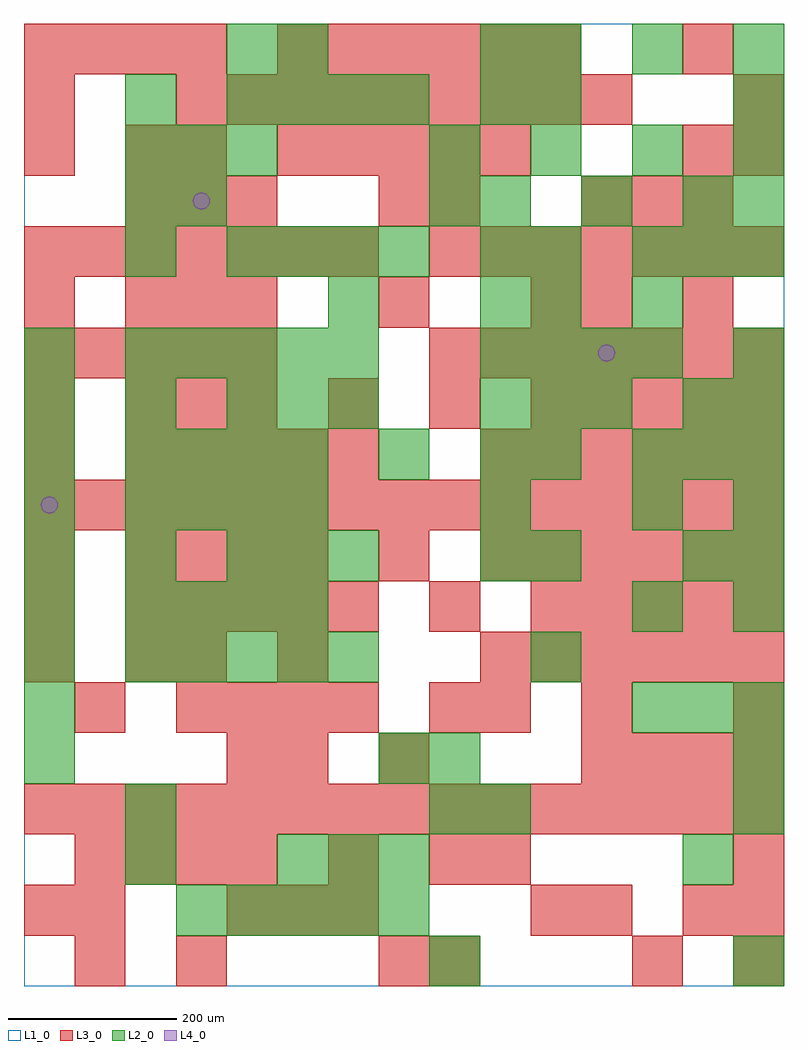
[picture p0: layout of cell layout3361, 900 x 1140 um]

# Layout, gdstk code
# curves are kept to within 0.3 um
import gdstk
lib = gdstk.Library(unit=1e-6, precision=1e-09)
def R(c, l, rs):  # rectangles x0, y0, x1, y1
    for r in rs: c.add(gdstk.rectangle(r[:2], r[2:], *l))
def A(c, l, x, y, w, h, nx, ny, dx, dy):  # array of equal rectangles
    R(c, l, [(x+i*dx, y+j*dy, x+i*dx+w, y+j*dy+h) for i in range(nx) for j in range(ny)])
def P(c, l, *ps):  # polygons
    for p in ps: c.add(gdstk.Polygon(p, *l))
L1_0 = (1, 0)
L2_0 = (2, 0)
L3_0 = (3, 0)
L4_0 = (4, 0)

layout3361 = lib.new_cell('layout3361')
R(layout3361, L1_0, [(0,0,900,1140)])
A(layout3361, L2_0, 180, 60, 60, 60, 5, 1, 60, 0)
A(layout3361, L2_0, 300, 120, 60, 60, 3, 1, 60, 0)
A(layout3361, L2_0, 0, 240, 60, 60, 1, 4, 0, 60)
A(layout3361, L2_0, 720, 300, 60, 60, 3, 2, 60, 300)
A(layout3361, L2_0, 120, 360, 60, 60, 5, 2, 60, 360)
A(layout3361, L2_0, 600, 360, 60, 60, 1, 3, 0, 120)
A(layout3361, L2_0, 120, 420, 60, 60, 4, 2, 60, 120)
A(layout3361, L2_0, 840, 420, 60, 60, 1, 3, 0, 60)
A(layout3361, L2_0, 0, 480, 60, 60, 3, 2, 120, 180)
A(layout3361, L2_0, 540, 480, 60, 60, 1, 3, 0, 60)
A(layout3361, L2_0, 120, 600, 60, 60, 4, 1, 60, 0)
A(layout3361, L2_0, 540, 660, 60, 60, 3, 1, 60, 0)
A(layout3361, L2_0, 540, 720, 60, 60, 4, 1, 60, 0)
A(layout3361, L2_0, 240, 840, 60, 60, 4, 2, 60, 180)
A(layout3361, L2_0, 720, 840, 60, 60, 3, 1, 60, 0)
A(layout3361, L2_0, 540, 900, 60, 60, 3, 1, 120, 0)
A(layout3361, L2_0, 120, 960, 60, 60, 3, 1, 60, 0)
A(layout3361, L2_0, 480, 960, 60, 60, 4, 1, 120, 0)
A(layout3361, L2_0, 600, 1080, 60, 60, 3, 1, 120, 0)
R(layout3361, L2_0, [(480,0,540,60), (840,0,900,60), (120,120,180,180), (780,120,840,180), (120,180,180,240), (480,180,540,240), (540,180,600,240), (840,180,900,240), (420,240,480,300), (480,240,540,300), (840,240,900,300), (720,420,780,480), (300,480,360,540), (360,480,420,540), (780,480,840,540), (0,540,60,600), (720,540,780,600), (0,600,60,660), (420,600,480,660), (300,660,360,720), (360,660,420,720), (780,660,840,720), (840,660,900,720), (0,720,60,780), (840,720,900,780), (360,780,420,840), (540,780,600,840), (600,780,660,840), (720,780,780,840), (120,840,180,900), (540,840,600,900), (600,840,660,900), (120,900,180,960), (180,900,240,960), (480,900,540,960), (840,900,900,960), (120,1020,180,1080), (540,1020,600,1080), (600,1020,660,1080), (840,1020,900,1080), (240,1080,300,1140), (300,1080,360,1140), (540,1080,600,1140)])
A(layout3361, L3_0, 420, 0, 60, 60, 1, 3, 0, 240)
A(layout3361, L3_0, 840, 0, 60, 60, 1, 3, 0, 60)
A(layout3361, L3_0, 240, 60, 60, 60, 3, 1, 60, 0)
A(layout3361, L3_0, 60, 120, 60, 60, 4, 1, 60, 0)
A(layout3361, L3_0, 0, 180, 60, 60, 15, 2, 60, 360)
A(layout3361, L3_0, 660, 240, 60, 60, 4, 2, 60, 420)
A(layout3361, L3_0, 180, 300, 60, 60, 4, 1, 60, 0)
A(layout3361, L3_0, 0, 360, 60, 60, 1, 3, 0, 60)
A(layout3361, L3_0, 540, 360, 60, 60, 6, 3, 60, 120)
A(layout3361, L3_0, 120, 420, 60, 60, 5, 2, 60, 180)
A(layout3361, L3_0, 600, 420, 60, 60, 5, 1, 60, 0)
A(layout3361, L3_0, 120, 480, 60, 60, 4, 1, 60, 0)
A(layout3361, L3_0, 120, 660, 60, 60, 3, 3, 60, 120)
A(layout3361, L3_0, 360, 660, 60, 60, 3, 1, 120, 0)
A(layout3361, L3_0, 0, 720, 60, 60, 5, 1, 60, 0)
A(layout3361, L3_0, 480, 720, 60, 60, 7, 2, 60, 120)
A(layout3361, L3_0, 0, 840, 60, 60, 7, 1, 60, 0)
A(layout3361, L3_0, 660, 900, 60, 60, 3, 1, 60, 0)
A(layout3361, L3_0, 300, 960, 60, 60, 5, 1, 60, 0)
A(layout3361, L3_0, 180, 1020, 60, 60, 9, 1, 60, 0)
A(layout3361, L3_0, 0, 1080, 60, 60, 4, 1, 60, 0)
A(layout3361, L3_0, 300, 1080, 60, 60, 6, 1, 60, 0)
R(layout3361, L3_0, [(60,0,120,60), (180,0,240,60), (480,0,540,60), (720,0,780,60), (0,60,60,120), (60,60,120,120), (600,60,660,120), (660,60,720,120), (780,60,840,120), (360,120,420,180), (480,120,540,180), (540,120,600,180), (240,240,300,300), (300,240,360,300), (60,300,120,360), (480,300,540,360), (540,300,600,360), (660,300,720,360), (840,300,900,360), (120,360,180,420), (180,360,240,420), (300,360,360,420), (480,420,540,480), (0,600,60,660), (0,660,60,720), (0,780,60,840), (420,780,480,840), (600,780,660,840), (660,780,720,840), (780,780,840,840), (420,900,480,960), (480,900,540,960), (0,960,60,1020), (120,960,180,1020), (180,960,240,1020), (780,960,840,1020), (840,960,900,1020), (0,1020,60,1080), (840,1020,900,1080), (780,1080,840,1140)])
P(layout3361, L4_0, [(40,570),(39.239,573.827),(37.071,577.071),(33.827,579.239),(30,580),(26.173,579.239),(22.929,577.071),(20.761,573.827),(20,570),(20.761,566.173),(22.929,562.929),(26.173,560.761),(30,560),(33.827,560.761),(37.071,562.929),(39.239,566.173)],
  [(220,930),(219.239,933.827),(217.071,937.071),(213.827,939.239),(210,940),(206.173,939.239),(202.929,937.071),(200.761,933.827),(200,930),(200.761,926.173),(202.929,922.929),(206.173,920.761),(210,920),(213.827,920.761),(217.071,922.929),(219.239,926.173)],
  [(700,750),(699.239,753.827),(697.071,757.071),(693.827,759.239),(690,760),(686.173,759.239),(682.929,757.071),(680.761,753.827),(680,750),(680.761,746.173),(682.929,742.929),(686.173,740.761),(690,740),(693.827,740.761),(697.071,742.929),(699.239,746.173)])

lib.write_gds('layout3361.gds')
